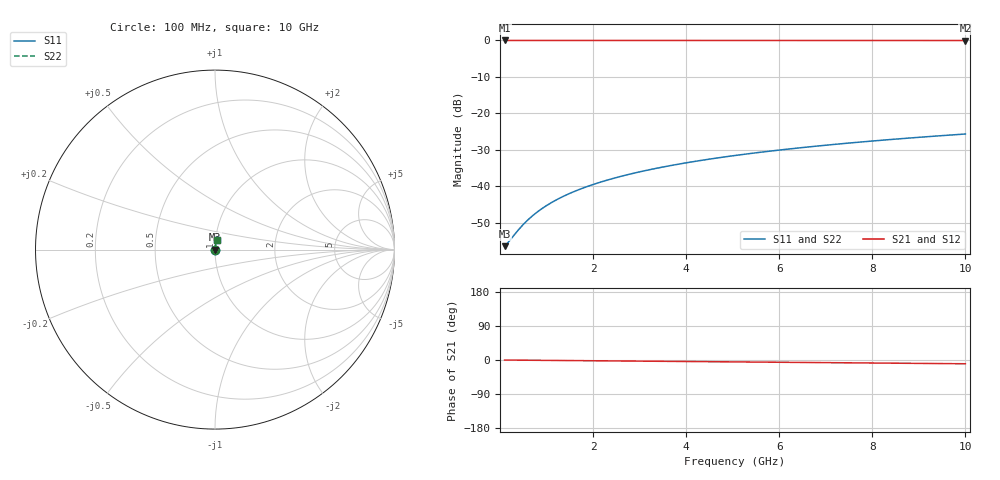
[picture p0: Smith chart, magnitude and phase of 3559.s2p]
# Hz S RI R 50.00
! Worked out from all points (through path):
!   100 points, 100 MHz to 10 GHz, reference 50 ohm
!   highest |S21| = -0.01 dB at 100 MHz (marker M1); lowest = 0.0 dB at 10 GHz (marker M2)
!   group delay of S21, straight-line fit = 2.76 ps
!   lowest |S11| = -56.5 dB at 100 MHz (marker M3), VSWR 1.00, Z = 50.1 + j0.0521 ohm
!   |S11| at or under -10 dB: start of sweep to end of sweep
!   |S22| runs from -56.5 to -25.7 dB; largest |S21 - S12| = 0
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1e8  0.00141 0.000519  0.9986 -0.00173  0.9986 -0.00173  0.00141 0.000519
2e8  0.00142 0.00104  0.9986 -0.00345  0.9986 -0.00345  0.00142 0.00104
4e8  0.00144 0.00208  0.9985 -0.00691  0.9985 -0.00691  0.00144 0.00208
5e8  0.00146 0.0026  0.9985 -0.00863  0.9985 -0.00863  0.00146 0.0026
6e8  0.00147 0.00312  0.9985 -0.0104  0.9985 -0.0104  0.00147 0.00312
7e8  0.00148 0.00363  0.9985 -0.0121  0.9985 -0.0121  0.00148 0.00363
8e8  0.0015 0.00415  0.9984 -0.0138  0.9984 -0.0138  0.0015 0.00415
1e9  0.00154 0.00519  0.9984 -0.0173  0.9984 -0.0173  0.00154 0.00519
1.2e9  0.00158 0.00623  0.9983 -0.0207  0.9983 -0.0207  0.00158 0.00623
1.5e9  0.00166 0.00778  0.9982 -0.0259  0.9982 -0.0259  0.00166 0.00778
1.8e9  0.00176 0.00934  0.998 -0.0311  0.998 -0.0311  0.00176 0.00934
2.1e9  0.00187 0.0109  0.9978 -0.0363  0.9978 -0.0363  0.00187 0.0109
2.5e9  0.00204 0.013  0.9975 -0.0432  0.9975 -0.0432  0.00204 0.013
2.9e9  0.00224 0.015  0.9971 -0.0501  0.9971 -0.0501  0.00224 0.015
3.4e9  0.00252 0.0176  0.9966 -0.0587  0.9966 -0.0587  0.00252 0.0176
4.2e9  0.00308 0.0217  0.9956 -0.0725  0.9956 -0.0725  0.00308 0.0217
5.1e9  0.00384 0.0263  0.9942 -0.088  0.9942 -0.088  0.00384 0.0263
5.9e9  0.00463 0.0304  0.9928 -0.1017  0.9928 -0.1017  0.00463 0.0304
6.7e9  0.00554 0.0345  0.9911 -0.1155  0.9911 -0.1155  0.00554 0.0345
7.5e9  0.00656 0.0385  0.9892 -0.1292  0.9892 -0.1292  0.00656 0.0385
8.4e9  0.00784 0.043  0.9869 -0.1446  0.9869 -0.1446  0.00784 0.043
1e10  0.0105 0.0509  0.9821 -0.1719  0.9821 -0.1719  0.0105 0.0509
